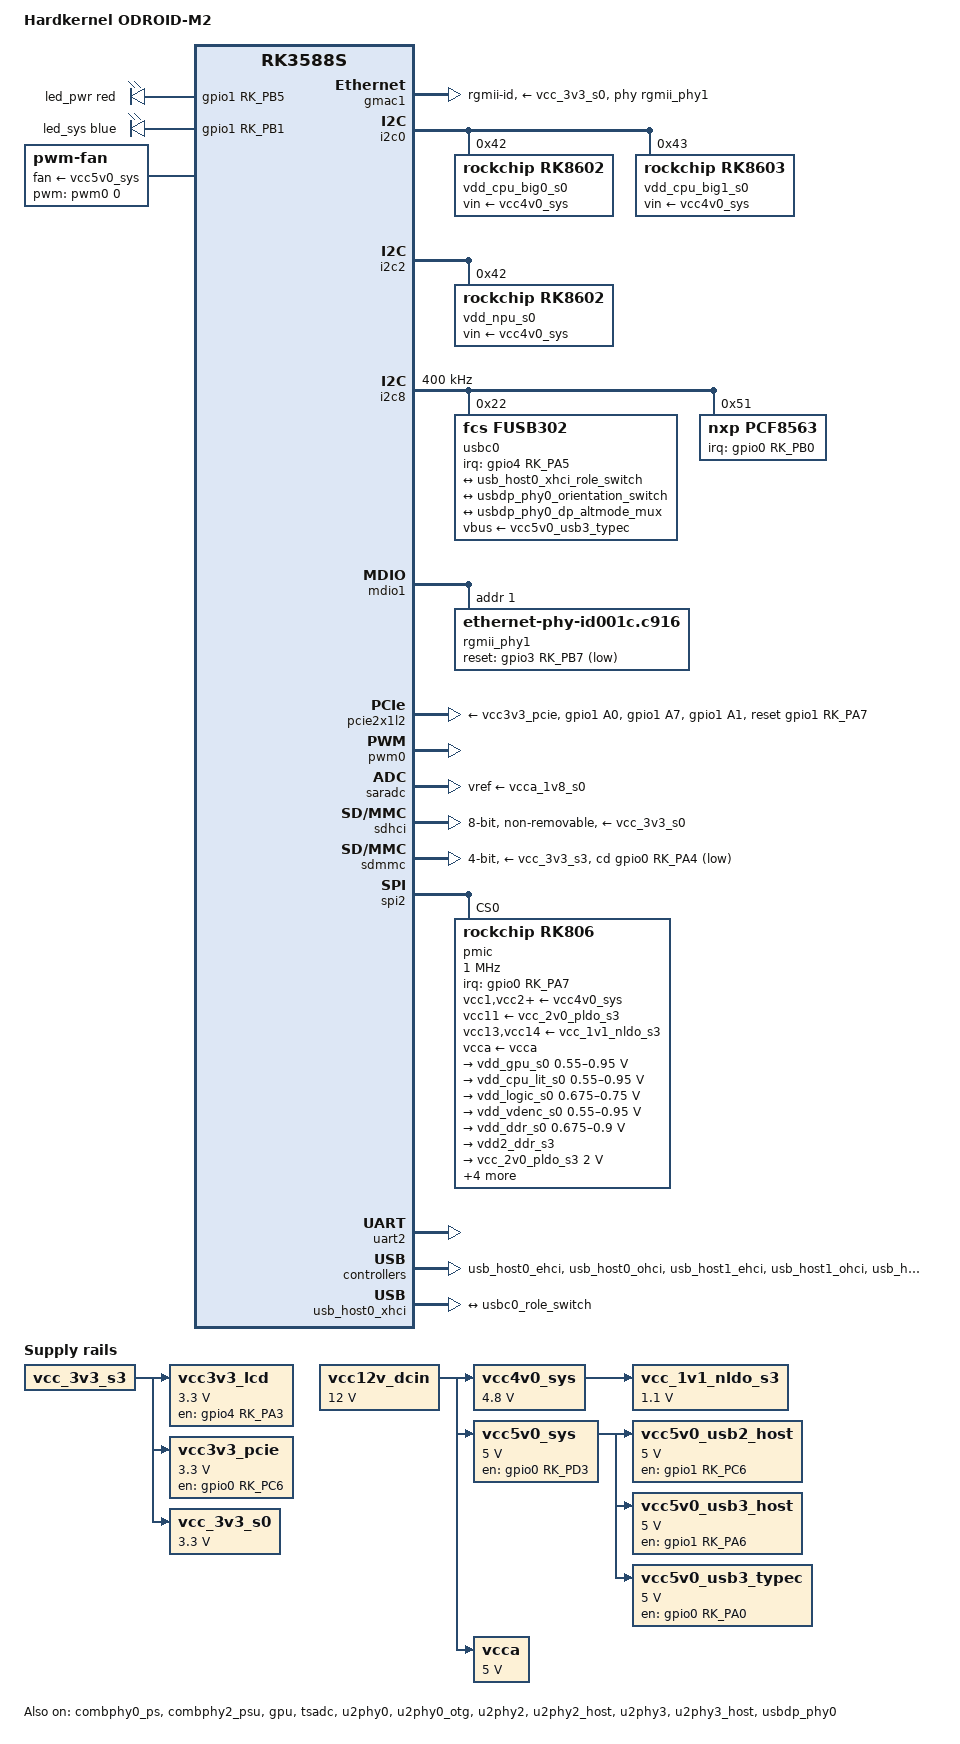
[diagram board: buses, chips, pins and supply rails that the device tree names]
// SPDX-License-Identifier: (GPL-2.0+ OR MIT)

/dts-v1/;

#include <dt-bindings/gpio/gpio.h>
#include <dt-bindings/leds/common.h>
#include <dt-bindings/pinctrl/rockchip.h>
#include <dt-bindings/usb/pd.h>
#include "rk3588s.dtsi"

/ {
	model = "Hardkernel ODROID-M2";
	compatible = "hardkernel,odroid-m2", "rockchip,rk3588s";

	aliases {
		ethernet0 = &gmac1;
		mmc0 = &sdhci;
		mmc1 = &sdmmc;
	};

	chosen {
		stdout-path = "serial2:1500000n8";
	};

	leds {
		compatible = "gpio-leds";
		pinctrl-names = "default";
		pinctrl-0 = <&pwr_led>, <&sys_led>;

		led_pwr: led-0 {
			color = <LED_COLOR_ID_RED>;
			default-state = "on";
			function = LED_FUNCTION_POWER;
			gpios = <&gpio1 RK_PB5 GPIO_ACTIVE_HIGH>;
			linux,default-trigger = "default-on";
		};

		led_sys: led-1 {
			color = <LED_COLOR_ID_BLUE>;
			default-state = "on";
			function = LED_FUNCTION_HEARTBEAT;
			gpios = <&gpio1 RK_PB1 GPIO_ACTIVE_HIGH>;
			linux,default-trigger = "heartbeat";
		};
	};

	fan: pwm-fan {
		compatible = "pwm-fan";
		#cooling-cells = <2>;
		cooling-levels = <0 192 224 255>;
		fan-supply = <&vcc5v0_sys>;
		pwms = <&pwm0 0 22222 0>;
	};

	vcc_1v1_nldo_s3: regulator-1v1-vcc-nldo-s3 {
		compatible = "regulator-fixed";
		regulator-name = "vcc_1v1_nldo_s3";
		regulator-always-on;
		regulator-boot-on;
		regulator-min-microvolt = <1100000>;
		regulator-max-microvolt = <1100000>;
		vin-supply = <&vcc4v0_sys>;
	};

	vcc3v3_lcd: regulator-3v3-vcc-lcd {
		compatible = "regulator-fixed";
		enable-active-high;
		gpios = <&gpio4 RK_PA3 GPIO_ACTIVE_HIGH>;
		pinctrl-names = "default";
		pinctrl-0 = <&lcd_pwren>;
		regulator-name = "vcc3v3_lcd";
		regulator-min-microvolt = <3300000>;
		regulator-max-microvolt = <3300000>;
		vin-supply = <&vcc_3v3_s3>;
	};

	vcc3v3_pcie: regulator-3v3-vcc-pcie {
		compatible = "regulator-fixed";
		enable-active-high;
		gpios = <&gpio0 RK_PC6 GPIO_ACTIVE_HIGH>;
		pinctrl-names = "default";
		pinctrl-0 = <&pcie_pwren>;
		regulator-name = "vcc3v3_pcie";
		regulator-min-microvolt = <3300000>;
		regulator-max-microvolt = <3300000>;
		vin-supply = <&vcc_3v3_s3>;
	};

	vcc_3v3_s0: regulator-3v3-vcc-s0 {
		compatible = "regulator-fixed";
		regulator-name = "vcc_3v3_s0";
		regulator-always-on;
		regulator-boot-on;
		regulator-min-microvolt = <3300000>;
		regulator-max-microvolt = <3300000>;
		vin-supply = <&vcc_3v3_s3>;
	};

	vcc4v0_sys: regulator-4v0-vcc-sys {
		compatible = "regulator-fixed";
		regulator-name = "vcc4v0_sys";
		regulator-always-on;
		regulator-boot-on;
		regulator-min-microvolt = <4800000>;
		regulator-max-microvolt = <4800000>;
		vin-supply = <&vcc12v_dcin>;
	};

	vcc5v0_sys: regulator-5v0-vcc-sys {
		compatible = "regulator-fixed";
		enable-active-high;
		gpios = <&gpio0 RK_PD3 GPIO_ACTIVE_HIGH>;
		pinctrl-names = "default";
		pinctrl-0 = <&vcc5v0_pwren>;
		regulator-name = "vcc5v0_sys";
		regulator-always-on;
		regulator-boot-on;
		regulator-min-microvolt = <5000000>;
		regulator-max-microvolt = <5000000>;
		vin-supply = <&vcc12v_dcin>;
	};

	vcc5v0_usb2_host: regulator-5v0-vcc-usb2-host {
		compatible = "regulator-fixed";
		enable-active-high;
		gpios = <&gpio1 RK_PC6 GPIO_ACTIVE_HIGH>;
		pinctrl-names = "default";
		pinctrl-0 = <&usb2_host_pwren>;
		regulator-name = "vcc5v0_usb2_host";
		regulator-min-microvolt = <5000000>;
		regulator-max-microvolt = <5000000>;
		vin-supply = <&vcc5v0_sys>;
	};

	vcc5v0_usb3_host: regulator-5v0-vcc-usb3-host {
		compatible = "regulator-fixed";
		enable-active-high;
		gpios = <&gpio1 RK_PA6 GPIO_ACTIVE_HIGH>;
		pinctrl-names = "default";
		pinctrl-0 = <&usb3_host_pwren>;
		regulator-name = "vcc5v0_usb3_host";
		regulator-min-microvolt = <5000000>;
		regulator-max-microvolt = <5000000>;
		vin-supply = <&vcc5v0_sys>;
	};

	vcc5v0_usb3_typec: regulator-5v0-vcc-usb3-typec {
		compatible = "regulator-fixed";
		enable-active-high;
		gpios = <&gpio0 RK_PA0 GPIO_ACTIVE_HIGH>;
		pinctrl-names = "default";
		pinctrl-0 = <&usb3_typec_pwren>;
		regulator-name = "vcc5v0_usb3_typec";
		regulator-min-microvolt = <5000000>;
		regulator-max-microvolt = <5000000>;
		vin-supply = <&vcc5v0_sys>;
	};

	vcca: regulator-5v0-vcca {
		compatible = "regulator-fixed";
		regulator-name = "vcca";
		regulator-always-on;
		regulator-boot-on;
		regulator-min-microvolt = <5000000>;
		regulator-max-microvolt = <5000000>;
		vin-supply = <&vcc12v_dcin>;
	};

	vcc12v_dcin: regulator-12v0-vcc-dcin {
		compatible = "regulator-fixed";
		regulator-name = "vcc12v_dcin";
		regulator-always-on;
		regulator-boot-on;
		regulator-min-microvolt = <12000000>;
		regulator-max-microvolt = <12000000>;
	};
};

&combphy0_ps {
	status = "okay";
};

&combphy2_psu {
	status = "okay";
};

&cpu_b0 {
	cpu-supply = <&vdd_cpu_big0_s0>;
};

&cpu_b1 {
	cpu-supply = <&vdd_cpu_big0_s0>;
};

&cpu_b2 {
	cpu-supply = <&vdd_cpu_big1_s0>;
};

&cpu_b3 {
	cpu-supply = <&vdd_cpu_big1_s0>;
};

&cpu_l0 {
	cpu-supply = <&vdd_cpu_lit_s0>;
};

&cpu_l1 {
	cpu-supply = <&vdd_cpu_lit_s0>;
};

&cpu_l2 {
	cpu-supply = <&vdd_cpu_lit_s0>;
};

&cpu_l3 {
	cpu-supply = <&vdd_cpu_lit_s0>;
};

&gmac1 {
	clock_in_out = "output";
	phy-handle = <&rgmii_phy1>;
	phy-mode = "rgmii-id";
	phy-supply = <&vcc_3v3_s0>;
	pinctrl-names = "default";
	pinctrl-0 = <&gmac1_miim
		     &gmac1_tx_bus2
		     &gmac1_rx_bus2
		     &gmac1_rgmii_clk
		     &gmac1_rgmii_bus
		     &gmac1_clkinout>;
	status = "okay";
};

&gpu {
	mali-supply = <&vdd_gpu_s0>;
	status = "okay";
};

&i2c0 {
	pinctrl-names = "default";
	pinctrl-0 = <&i2c0m2_xfer>;
	status = "okay";

	vdd_cpu_big0_s0: regulator@42 {
		compatible = "rockchip,rk8602";
		reg = <0x42>;
		fcs,suspend-voltage-selector = <1>;
		regulator-name = "vdd_cpu_big0_s0";
		regulator-always-on;
		regulator-boot-on;
		regulator-min-microvolt = <550000>;
		regulator-max-microvolt = <1050000>;
		regulator-ramp-delay = <2300>;
		vin-supply = <&vcc4v0_sys>;

		regulator-state-mem {
			regulator-off-in-suspend;
		};
	};

	vdd_cpu_big1_s0: regulator@43 {
		compatible = "rockchip,rk8603", "rockchip,rk8602";
		reg = <0x43>;
		fcs,suspend-voltage-selector = <1>;
		regulator-name = "vdd_cpu_big1_s0";
		regulator-always-on;
		regulator-boot-on;
		regulator-min-microvolt = <550000>;
		regulator-max-microvolt = <1050000>;
		regulator-ramp-delay = <2300>;
		vin-supply = <&vcc4v0_sys>;

		regulator-state-mem {
			regulator-off-in-suspend;
		};
	};
};

&i2c2 {
	status = "okay";

	vdd_npu_s0: regulator@42 {
		compatible = "rockchip,rk8602";
		reg = <0x42>;
		fcs,suspend-voltage-selector = <1>;
		regulator-name = "vdd_npu_s0";
		regulator-always-on;
		regulator-boot-on;
		regulator-min-microvolt = <550000>;
		regulator-max-microvolt = <950000>;
		regulator-ramp-delay = <2300>;
		vin-supply = <&vcc4v0_sys>;

		regulator-state-mem {
			regulator-off-in-suspend;
		};
	};
};

&i2c8 {
	clock-frequency = <400000>;
	pinctrl-names = "default";
	pinctrl-0 = <&i2c8m2_xfer>;
	status = "okay";

	usbc0: usb-typec@22 {
		compatible = "fcs,fusb302";
		reg = <0x22>;
		interrupt-parent = <&gpio4>;
		interrupts = <RK_PA5 IRQ_TYPE_LEVEL_LOW>;
		pinctrl-names = "default";
		pinctrl-0 = <&usbc0_int>;
		vbus-supply = <&vcc5v0_usb3_typec>;

		connector {
			compatible = "usb-c-connector";
			data-role = "dual";
			label = "USB-C";
			op-sink-microwatt = <1000000>;
			power-role = "dual";
			sink-pdos = <PDO_FIXED(5000, 1000, PDO_FIXED_USB_COMM)>;
			source-pdos = <PDO_FIXED(5000, 3000, PDO_FIXED_USB_COMM)>;
			try-power-role = "source";

			ports {
				#address-cells = <1>;
				#size-cells = <0>;

				port@0 {
					reg = <0>;

					usbc0_role_switch: endpoint {
						remote-endpoint = <&usb_host0_xhci_role_switch>;
					};
				};

				port@1 {
					reg = <1>;

					usbc0_orientation_switch: endpoint {
						remote-endpoint = <&usbdp_phy0_orientation_switch>;
					};
				};

				port@2 {
					reg = <2>;

					usbc0_dp_altmode_mux: endpoint {
						remote-endpoint = <&usbdp_phy0_dp_altmode_mux>;
					};
				};
			};
		};
	};

	pcf8563: rtc@51 {
		compatible = "nxp,pcf8563";
		reg = <0x51>;
		interrupt-parent = <&gpio0>;
		interrupts = <RK_PB0 IRQ_TYPE_LEVEL_LOW>;
		pinctrl-names = "default";
		pinctrl-0 = <&pcf8563_int>;
		wakeup-source;
	};
};

&mdio1 {
	rgmii_phy1: ethernet-phy@1 {
		compatible = "ethernet-phy-id001c.c916";
		reg = <1>;
		reset-assert-us = <20000>;
		reset-deassert-us = <100000>;
		reset-gpios = <&gpio3 RK_PB7 GPIO_ACTIVE_LOW>;
	};
};

&package_thermal {
	polling-delay = <1000>;

	trips {
		package_fan0: package-fan0 {
			hysteresis = <2000>;
			temperature = <60000>;
			type = "active";
		};
	};

	cooling-maps {
		map0 {
			cooling-device = <&fan 1 THERMAL_NO_LIMIT>;
			trip = <&package_fan0>;
		};
	};
};

&pcie2x1l2 {
	pinctrl-names = "default";
	pinctrl-0 = <&pcie20x1_pins>;
	reset-gpios = <&gpio1 RK_PA7 GPIO_ACTIVE_HIGH>;
	vpcie3v3-supply = <&vcc3v3_pcie>;
	status = "okay";
};

&pinctrl {
	lcd {
		lcd_pwren: lcd-pwren {
			rockchip,pins = <4 RK_PA3 RK_FUNC_GPIO &pcfg_pull_none>;
		};
	};

	leds {
		pwr_led: pwr-led {
			rockchip,pins = <1 RK_PB5 RK_FUNC_GPIO &pcfg_pull_none>;
		};

		sys_led: sys-led {
			rockchip,pins = <1 RK_PB1 RK_FUNC_GPIO &pcfg_pull_none>;
		};
	};

	pcie {
		pcie20x1_pins: pcie20x1-pins {
			rockchip,pins =
				<1 RK_PA0 4 &pcfg_pull_none>,
				<1 RK_PA7 RK_FUNC_GPIO &pcfg_pull_none>,
				<1 RK_PA1 4 &pcfg_pull_none>;
		};

		pcie_pwren: pcie-pwren {
			rockchip,pins = <0 RK_PC6 RK_FUNC_GPIO &pcfg_pull_none>;
		};
	};

	regulator {
		vcc5v0_pwren: vcc5v0-pwren {
			rockchip,pins = <0 RK_PD3 RK_FUNC_GPIO &pcfg_pull_none>;
		};
	};

	rtc {
		pcf8563_int: pcf8563-int {
			rockchip,pins = <0 RK_PB0 RK_FUNC_GPIO &pcfg_pull_none>;
		};
	};

	usb {
		usb2_host_pwren: usb2-host-pwren {
			rockchip,pins = <1 RK_PC6 RK_FUNC_GPIO &pcfg_pull_none>;
		};

		usb3_host_pwren: usb3-host-pwren {
			rockchip,pins = <1 RK_PA6 RK_FUNC_GPIO &pcfg_pull_none>;
		};

		usb3_typec_pwren: usb3-typec-pwren {
			rockchip,pins = <0 RK_PA0 RK_FUNC_GPIO &pcfg_pull_none>;
		};

		usbc0_int: usbc0-int {
			rockchip,pins = <4 RK_PA5 RK_FUNC_GPIO &pcfg_pull_none>;
		};
	};
};

&pwm0 {
	pinctrl-names = "default";
	pinctrl-0 = <&pwm0m2_pins>;
	status = "okay";
};

&saradc {
	vref-supply = <&vcca_1v8_s0>;
	status = "okay";
};

&sdhci {
	bus-width = <8>;
	mmc-hs400-1_8v;
	mmc-hs400-enhanced-strobe;
	no-sd;
	no-sdio;
	non-removable;
	vmmc-supply = <&vcc_3v3_s0>;
	vqmmc-supply = <&vcc_1v8_s0>;
	status = "okay";
};

&sdmmc {
	bus-width = <4>;
	cap-sd-highspeed;
	cd-gpios = <&gpio0 RK_PA4 GPIO_ACTIVE_LOW>;
	disable-wp;
	max-frequency = <150000000>;
	no-mmc;
	no-sdio;
	sd-uhs-sdr104;
	vmmc-supply = <&vcc_3v3_s3>;
	vqmmc-supply = <&vccio_sd_s0>;
	status = "okay";
};

&spi2 {
	assigned-clocks = <&cru CLK_SPI2>;
	assigned-clock-rates = <200000000>;
	num-cs = <1>;
	pinctrl-names = "default";
	pinctrl-0 = <&spi2m2_cs0>, <&spi2m2_pins>;
	status = "okay";

	pmic@0 {
		compatible = "rockchip,rk806";
		reg = <0x0>;
		#gpio-cells = <2>;
		gpio-controller;
		interrupt-parent = <&gpio0>;
		interrupts = <RK_PA7 IRQ_TYPE_LEVEL_LOW>;
		pinctrl-names = "default";
		pinctrl-0 = <&pmic_pins>, <&rk806_dvs1_null>,
			    <&rk806_dvs2_null>, <&rk806_dvs3_null>;
		spi-max-frequency = <1000000>;
		system-power-controller;

		vcc1-supply = <&vcc4v0_sys>;
		vcc2-supply = <&vcc4v0_sys>;
		vcc3-supply = <&vcc4v0_sys>;
		vcc4-supply = <&vcc4v0_sys>;
		vcc5-supply = <&vcc4v0_sys>;
		vcc6-supply = <&vcc4v0_sys>;
		vcc7-supply = <&vcc4v0_sys>;
		vcc8-supply = <&vcc4v0_sys>;
		vcc9-supply = <&vcc4v0_sys>;
		vcc10-supply = <&vcc4v0_sys>;
		vcc11-supply = <&vcc_2v0_pldo_s3>;
		vcc12-supply = <&vcc4v0_sys>;
		vcc13-supply = <&vcc_1v1_nldo_s3>;
		vcc14-supply = <&vcc_1v1_nldo_s3>;
		vcca-supply = <&vcca>;

		rk806_dvs1_null: dvs1-null-pins {
			pins = "gpio_pwrctrl1";
			function = "pin_fun0";
		};

		rk806_dvs2_null: dvs2-null-pins {
			pins = "gpio_pwrctrl2";
			function = "pin_fun0";
		};

		rk806_dvs3_null: dvs3-null-pins {
			pins = "gpio_pwrctrl3";
			function = "pin_fun0";
		};

		regulators {
			vdd_gpu_s0: dcdc-reg1 {
				regulator-name = "vdd_gpu_s0";
				regulator-boot-on;
				regulator-min-microvolt = <550000>;
				regulator-max-microvolt = <950000>;
				regulator-ramp-delay = <12500>;
				regulator-enable-ramp-delay = <400>;

				regulator-state-mem {
					regulator-off-in-suspend;
				};
			};

			vdd_cpu_lit_s0: dcdc-reg2 {
				regulator-name = "vdd_cpu_lit_s0";
				regulator-always-on;
				regulator-boot-on;
				regulator-min-microvolt = <550000>;
				regulator-max-microvolt = <950000>;
				regulator-ramp-delay = <12500>;

				regulator-state-mem {
					regulator-off-in-suspend;
				};
			};

			vdd_logic_s0: dcdc-reg3 {
				regulator-name = "vdd_logic_s0";
				regulator-always-on;
				regulator-boot-on;
				regulator-min-microvolt = <675000>;
				regulator-max-microvolt = <750000>;
				regulator-ramp-delay = <12500>;

				regulator-state-mem {
					regulator-off-in-suspend;
					regulator-suspend-microvolt = <750000>;
				};
			};

			vdd_vdenc_s0: dcdc-reg4 {
				regulator-name = "vdd_vdenc_s0";
				regulator-always-on;
				regulator-boot-on;
				regulator-min-microvolt = <550000>;
				regulator-max-microvolt = <950000>;
				regulator-ramp-delay = <12500>;

				regulator-state-mem {
					regulator-off-in-suspend;
				};
			};

			vdd_ddr_s0: dcdc-reg5 {
				regulator-name = "vdd_ddr_s0";
				regulator-always-on;
				regulator-boot-on;
				regulator-min-microvolt = <675000>;
				regulator-max-microvolt = <900000>;
				regulator-ramp-delay = <12500>;

				regulator-state-mem {
					regulator-off-in-suspend;
					regulator-suspend-microvolt = <850000>;
				};
			};

			vdd2_ddr_s3: dcdc-reg6 {
				regulator-name = "vdd2_ddr_s3";
				regulator-always-on;
				regulator-boot-on;

				regulator-state-mem {
					regulator-on-in-suspend;
				};
			};

			vcc_2v0_pldo_s3: dcdc-reg7 {
				regulator-name = "vdd_2v0_pldo_s3";
				regulator-always-on;
				regulator-boot-on;
				regulator-min-microvolt = <2000000>;
				regulator-max-microvolt = <2000000>;
				regulator-ramp-delay = <12500>;

				regulator-state-mem {
					regulator-on-in-suspend;
					regulator-suspend-microvolt = <2000000>;
				};
			};

			vcc_3v3_s3: dcdc-reg8 {
				regulator-name = "vcc_3v3_s3";
				regulator-always-on;
				regulator-boot-on;
				regulator-min-microvolt = <3300000>;
				regulator-max-microvolt = <3300000>;

				regulator-state-mem {
					regulator-on-in-suspend;
					regulator-suspend-microvolt = <3300000>;
				};
			};

			vddq_ddr_s0: dcdc-reg9 {
				regulator-name = "vddq_ddr_s0";
				regulator-always-on;
				regulator-boot-on;

				regulator-state-mem {
					regulator-off-in-suspend;
				};
			};

			vcc_1v8_s3: dcdc-reg10 {
				regulator-name = "vcc_1v8_s3";
				regulator-always-on;
				regulator-boot-on;
				regulator-min-microvolt = <1800000>;
				regulator-max-microvolt = <1800000>;

				regulator-state-mem {
					regulator-on-in-suspend;
					regulator-suspend-microvolt = <1800000>;
				};
			};

			vcc_1v8_s0: pldo-reg1 {
				regulator-name = "vcc_1v8_s0";
				regulator-always-on;
				regulator-boot-on;
				regulator-min-microvolt = <1800000>;
				regulator-max-microvolt = <1800000>;

				regulator-state-mem {
					regulator-off-in-suspend;
				};
			};

			vcca_1v8_s0: pldo-reg2 {
				regulator-name = "vcca_1v8_s0";
				regulator-always-on;
				regulator-boot-on;
				regulator-min-microvolt = <1800000>;
				regulator-max-microvolt = <1800000>;

				regulator-state-mem {
					regulator-off-in-suspend;
					regulator-suspend-microvolt = <1800000>;
				};
			};

			vdda_1v2_s0: pldo-reg3 {
				regulator-name = "vdda_1v2_s0";
				regulator-always-on;
				regulator-boot-on;
				regulator-min-microvolt = <1200000>;
				regulator-max-microvolt = <1200000>;

				regulator-state-mem {
					regulator-off-in-suspend;
				};
			};

			vcca_3v3_s0: pldo-reg4 {
				regulator-name = "vcca_3v3_s0";
				regulator-always-on;
				regulator-boot-on;
				regulator-min-microvolt = <3300000>;
				regulator-max-microvolt = <3300000>;
				regulator-ramp-delay = <12500>;

				regulator-state-mem {
					regulator-off-in-suspend;
				};
			};

			vccio_sd_s0: pldo-reg5 {
				regulator-name = "vccio_sd_s0";
				regulator-always-on;
				regulator-boot-on;
				regulator-min-microvolt = <1800000>;
				regulator-max-microvolt = <3300000>;
				regulator-ramp-delay = <12500>;

				regulator-state-mem {
					regulator-off-in-suspend;
				};
			};

			vcc_1v8_s3_pldo6: pldo-reg6 {
				regulator-name = "vcc_1v8_s3_pldo6";
				regulator-always-on;
				regulator-boot-on;
				regulator-min-microvolt = <1800000>;
				regulator-max-microvolt = <1800000>;

				regulator-state-mem {
					regulator-on-in-suspend;
					regulator-suspend-microvolt = <1800000>;
				};
			};

			vdd_0v75_s3: nldo-reg1 {
				regulator-name = "vdd_0v75_s3";
				regulator-always-on;
				regulator-boot-on;
				regulator-min-microvolt = <750000>;
				regulator-max-microvolt = <750000>;

				regulator-state-mem {
					regulator-on-in-suspend;
					regulator-suspend-microvolt = <750000>;
				};
			};

			vdda_ddr_pll_s0: nldo-reg2 {
				regulator-name = "vdda_ddr_pll_s0";
				regulator-always-on;
				regulator-boot-on;
				regulator-min-microvolt = <900000>;
				regulator-max-microvolt = <900000>;

				regulator-state-mem {
					regulator-off-in-suspend;
					regulator-suspend-microvolt = <850000>;
				};
			};

			vdda_0v75_s0: nldo-reg3 {
				regulator-name = "vdda_0v75_s0";
				regulator-always-on;
				regulator-boot-on;
				regulator-min-microvolt = <837500>;
				regulator-max-microvolt = <837500>;

				regulator-state-mem {
					regulator-off-in-suspend;
				};
			};

			vdda_0v85_s0: nldo-reg4 {
				regulator-name = "vdda_0v85_s0";
				regulator-always-on;
				regulator-boot-on;
				regulator-min-microvolt = <850000>;
				regulator-max-microvolt = <850000>;

				regulator-state-mem {
					regulator-off-in-suspend;
				};
			};

			/* Schematics show not in use */
			nldo-reg5 {
			};
		};
	};
};

&tsadc {
	status = "okay";
};

&u2phy0 {
	status = "okay";
};

&u2phy0_otg {
	status = "okay";
};

&u2phy2 {
	status = "okay";
};

&u2phy2_host {
	phy-supply = <&vcc5v0_usb2_host>;
	status = "okay";
};

&u2phy3 {
	status = "okay";
};

&u2phy3_host {
	phy-supply = <&vcc5v0_usb3_host>;
	status = "okay";
};

&uart2 {
	pinctrl-names = "default";
	pinctrl-0 = <&uart2m0_xfer>;
	status = "okay";
};

&usb_host0_ehci {
	status = "okay";
};

&usb_host0_ohci {
	status = "okay";
};

&usb_host0_xhci {
	usb-role-switch;
	status = "okay";

	port {
		usb_host0_xhci_role_switch: endpoint {
			remote-endpoint = <&usbc0_role_switch>;
		};
	};
};

&usb_host1_ehci {
	status = "okay";
};

&usb_host1_ohci {
	status = "okay";
};

&usb_host2_xhci {
	status = "okay";
};

&usbdp_phy0 {
	mode-switch;
	orientation-switch;
	sbu1-dc-gpios = <&gpio4 RK_PA0 GPIO_ACTIVE_HIGH>;
	sbu2-dc-gpios = <&gpio4 RK_PA1 GPIO_ACTIVE_HIGH>;
	status = "okay";

	port {
		#address-cells = <1>;
		#size-cells = <0>;

		usbdp_phy0_orientation_switch: endpoint@0 {
			reg = <0>;
			remote-endpoint = <&usbc0_orientation_switch>;
		};

		usbdp_phy0_dp_altmode_mux: endpoint@1 {
			reg = <1>;
			remote-endpoint = <&usbc0_dp_altmode_mux>;
		};
	};
};
